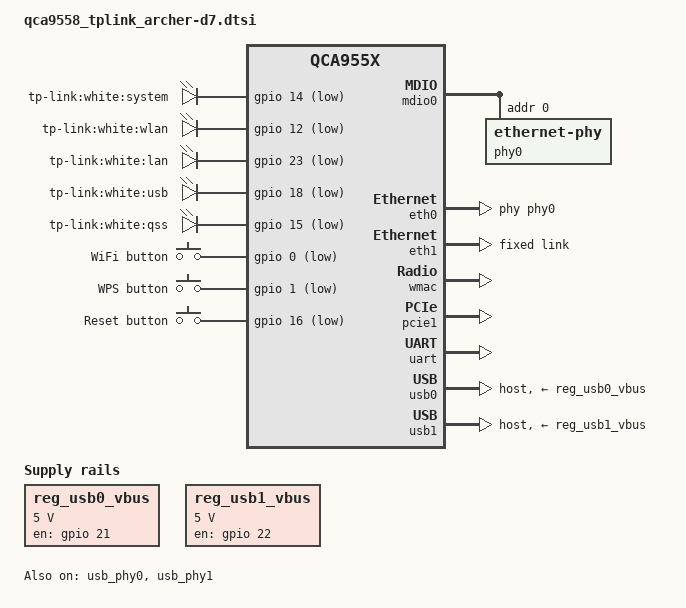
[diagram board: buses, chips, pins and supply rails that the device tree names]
// SPDX-License-Identifier: GPL-2.0-or-later OR MIT

#include "qca955x.dtsi"

#include <dt-bindings/gpio/gpio.h>
#include <dt-bindings/input/input.h>

/ {
	aliases {
		led-boot = &led_system;
		led-failsafe = &led_system;
		led-running = &led_system;
		led-upgrade = &led_system;
	};

	leds {
		compatible = "gpio-leds";

		led_system: system {
			label = "tp-link:white:system";
			gpios = <&gpio 14 GPIO_ACTIVE_LOW>;
			default-state = "on";
		};

		wlan {
			label = "tp-link:white:wlan";
			gpios = <&gpio 12 GPIO_ACTIVE_LOW>;
		};

		lan {
			label = "tp-link:white:lan";
			gpios = <&gpio 23 GPIO_ACTIVE_LOW>;
		};

		usb {
			label = "tp-link:white:usb";
			gpios = <&gpio 18 GPIO_ACTIVE_LOW>;
			trigger-sources = <&hub_port1>, <&hub_port0>;
			linux,default-trigger = "usbport";
		};

		qss {
			label = "tp-link:white:qss";
			gpios = <&gpio 15 GPIO_ACTIVE_LOW>;
		};
	};

	keys {
		compatible = "gpio-keys";

		wifi {
			label = "WiFi button";
			linux,code = <KEY_RFKILL>;
			gpios = <&gpio 0 GPIO_ACTIVE_LOW>;
		};

		wps {
			label = "WPS button";
			linux,code = <KEY_WPS_BUTTON>;
			gpios = <&gpio 1 GPIO_ACTIVE_LOW>;
		};

		reset {
			label = "Reset button";
			linux,code = <KEY_RESTART>;
			gpios = <&gpio 16 GPIO_ACTIVE_LOW>;
		};
	};

	reg_usb0_vbus: regulator {
		compatible = "regulator-fixed";
		regulator-name = "usb_vbus";
		regulator-min-microvolt = <5000000>;
		regulator-max-microvolt = <5000000>;
		gpio = <&gpio 21 GPIO_ACTIVE_HIGH>;
		enable-active-high;
	};

	reg_usb1_vbus: regulator {
		compatible = "regulator-fixed";
		regulator-name = "usb_vbus";
		regulator-min-microvolt = <5000000>;
		regulator-max-microvolt = <5000000>;
		gpio = <&gpio 22 GPIO_ACTIVE_HIGH>;
		enable-active-high;
	};
};

&mdio0 {
	status = "okay";

	phy0: ethernet-phy@0 {
		reg = <0>;

		qca,ar8327-initvals = <
			0x04 0x00080080 /* PORT0 PAD MODE CTRL */
			0x0c 0x07600000 /* PORT6 PAD MODE CTRL */
			0x50 0xc737c737 /* LED_CTRL0 */
			0x54 0x00000000 /* LED_CTRL1 */
			0x58 0x00000000 /* LED_CTRL2 */
			0x5c 0x0030c300 /* LED_CTRL3 */
			0x7c 0x0000007e /* PORT0_STATUS */
			0x94 0x0000007e /* PORT6 STATUS */
			>;
	};
};

&eth0 {
	status = "okay";

	phy-handle = <&phy0>;
	pll-data = <0x56000000 0x00000101 0x00001616>;

	gmac-config {
		device = <&gmac>;
		rgmii-enabled = <1>;
	};
};

&eth1 {
	status = "okay";

	pll-data = <0x03000101 0x00000101 0x00001616>;

	fixed-link {
		speed = <1000>;
		full-duplex;
	};
};

&wmac {
	status = "okay";
};

&pcie1 {
	status = "okay";
};

&uart {
	status = "okay";
};

&usb_phy0 {
	status = "okay";
};

&usb0 {
	#address-cells = <1>;
	#size-cells = <0>;
	dr_mode = "host";
	vbus-supply = <&reg_usb0_vbus>;
	status = "okay";

	hub_port0: port@1 {
		reg = <1>;
		#trigger-source-cells = <0>;
	};
};

&usb_phy1 {
	status = "okay";
};

&usb1 {
	#address-cells = <1>;
	#size-cells = <0>;
	dr_mode = "host";
	vbus-supply = <&reg_usb1_vbus>;
	status = "okay";

	hub_port1: port@1 {
		reg = <1>;
		#trigger-source-cells = <0>;
	};
};
